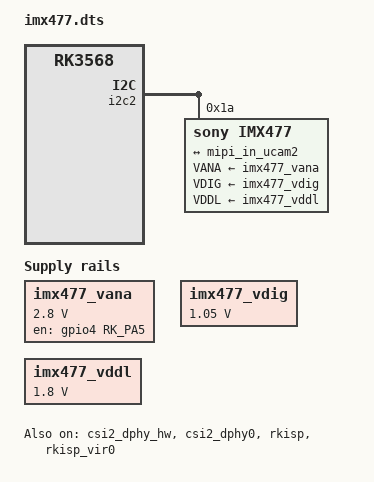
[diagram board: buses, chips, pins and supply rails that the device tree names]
/dts-v1/;
/plugin/;

#include <dt-bindings/clock/rk3568-cru.h>
#include <dt-bindings/power/rk3568-power.h>
#include <dt-bindings/gpio/gpio.h>
#include <dt-bindings/pinctrl/rockchip.h>
#include "../../rk3568-pinctrl.dtsi"

/ {
	fragment@0 {
		target = <&csi2_dphy_hw>;

		__overlay__ {
			status = "okay";
		};
	};

	fragment@1 {
		target = <&csi2_dphy0>;

		__overlay__ {
			status = "okay";

			ports {
				#address-cells = <1>;
				#size-cells = <0>;
				port@0 {
					reg = <0>;
					#address-cells = <1>;
					#size-cells = <0>;

					mipi_in_ucam2: endpoint@3 {
						reg = <3>;
						remote-endpoint = <&imx477_out>;
						data-lanes = <1 2>;
						clock-lanes = <0>;
						clock-noncontinuous;
					};
				};
				port@1 {
					reg = <1>;
					#address-cells = <1>;
					#size-cells = <0>;

					csidphy_out: endpoint@0 {
						reg = <0>;
						remote-endpoint = <&isp0_in>;
					};
				};
			};
		};
	};

	fragment@2 {
		target = <&rkisp>;

		__overlay__ {
			status = "okay";
		};
	};

	fragment@3 {
		target = <&rkisp_mmu>;

		__overlay__ {
			status = "okay";
		};
	};

	fragment@4 {
		target = <&rkisp_vir0>;

		__overlay__ {
			status = "okay";

			port {
				#address-cells = <1>;
				#size-cells = <0>;

				isp0_in: endpoint@0 {
					reg = <0>;
					remote-endpoint = <&csidphy_out>;
				};
			};
		};
	};

	fragment@5 {
		target = <&pinctrl>;

		__overlay__ {
			cam_pins {
				cam_pwr: cam-pwr {
					rockchip,pins = <4 RK_PA5 RK_FUNC_GPIO &pcfg_pull_none>;
				};
			};
		};
	};

	fragment@6 {
		// i2c2, i2c@fe5b0000
		target = <&i2c2>;

		__overlay__ {
			status = "okay";

			imx477: imx477@1a {
				status = "okay";
				compatible = "sony,imx477";
				reg = <0x1a>;
				clocks = <&pmucru CLK_WIFI>;
				clock-names = "xclk";
				power-domains = <&power RK3568_PD_VI>;
				pinctrl-names = "default";

				VANA-supply = <&imx477_vana>;	/* 2.8v */
				VDIG-supply = <&imx477_vdig>;	/* 1.05v */
				VDDL-supply = <&imx477_vddl>;	/* 1.8v */

				rockchip,camera-module-index = <0>;
				rockchip,camera-module-facing = "back";
				rockchip,camera-module-name = "TongJu";
				rockchip,camera-module-lens-name = "CHT842-MD";

				port {
					imx477_out: endpoint {
						remote-endpoint = <&mipi_in_ucam2>;
						data-lanes = <1 2>;
						clock-lanes = <0>;
						clock-noncontinuous;
						link-frequencies =
							/bits/ 64 <450000000>;
					};
				};
			};
		};
	};

	fragment@7 {
		target-path = "/";

		#address-cells = <1>;
		#size-cells = <0>;

		__overlay__ {
			imx477_vana: vcc-camera {
				compatible = "regulator-fixed";
				pinctrl-names = "default";
				pinctrl-0 = <&cam_pwr>;
				enable-active-high;
				gpio = <&gpio4 RK_PA5 GPIO_ACTIVE_HIGH>;

				regulator-name = "imx477_vana";
				startup-delay-us = <300000>;
				regulator-min-microvolt = <2800000>;
				regulator-max-microvolt = <2800000>;
			};
			imx477_vdig: fixedregulator@0 {
				compatible = "regulator-fixed";
				regulator-name = "imx477_vdig";
				regulator-min-microvolt = <1050000>;
				regulator-max-microvolt = <1050000>;
			};
			imx477_vddl: fixedregulator@1 {
				compatible = "regulator-fixed";
				regulator-name = "imx477_vddl";
				regulator-min-microvolt = <1800000>;
				regulator-max-microvolt = <1800000>;
			};
		};
	};
};
